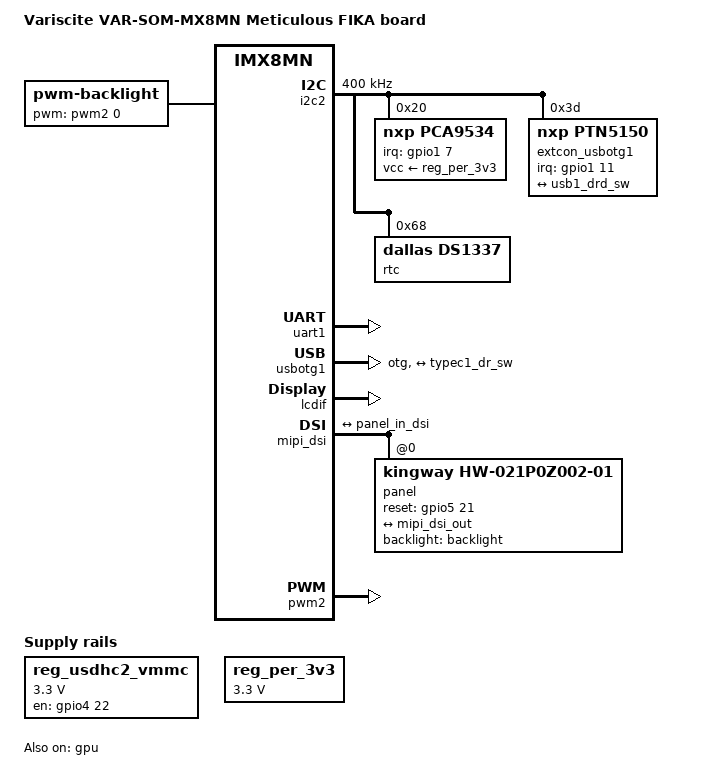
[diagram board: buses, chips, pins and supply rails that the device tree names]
// SPDX-License-Identifier: (GPL-2.0+ OR MIT)
/*
 * Supports Symphony evaluation board versions >= 1.4a.
 *
 * Copyright 2019-2020 Variscite Ltd.
 * Copyright (C) 2020 Krzysztof Kozlowski <krzk@kernel.org>
 */

/dts-v1/;

#include <dt-bindings/usb/pd.h>
#include "imx8mn-var-som.dtsi"

/ {
	model = "Variscite VAR-SOM-MX8MN Meticulous FIKA board";
	compatible = "meticulous,fika-var-mx8mn", "variscite,var-som-mx8mn-meticulous", "variscite,var-som-mx8mn", "fsl,imx8mn";

	reg_usdhc2_vmmc: regulator-usdhc2-vmmc {
		compatible = "regulator-fixed";
		pinctrl-names = "default";
		pinctrl-0 = <&pinctrl_reg_usdhc2_vmmc>;
		regulator-name = "VSD_3V3";
		regulator-min-microvolt = <3300000>;
		regulator-max-microvolt = <3300000>;
		gpio = <&gpio4 22 GPIO_ACTIVE_HIGH>;
		enable-active-high;
	};

	/* Peripherals supply, enabled by Q2 after SOM_3V3 rises. */
	reg_per_3v3: regulator-peripheral-3v3 {
		compatible = "regulator-fixed";
		regulator-name = "per_3v3";
		regulator-min-microvolt = <3300000>;
		regulator-max-microvolt = <3300000>;
		regulator-always-on;
	};

	backlight: backlight {
		compatible = "pwm-backlight";
		pwms = <&pwm2 0 500000 0>;
		brightness-levels = <0 100>;
		num-interpolated-steps = <100>;
		default-brightness-level = <99>;
		status = "okay";
	};
};

&ethphy {
	status = "disabled";
};

&i2c2 {
	clock-frequency = <400000>;
	pinctrl-names = "default";
	pinctrl-0 = <&pinctrl_i2c2>;
	status = "okay";

	pca9534: gpio@20 {
		compatible = "nxp,pca9534";
		reg = <0x20>;
		gpio-controller;
		pinctrl-names = "default";
		pinctrl-0 = <&pinctrl_pca9534>;
		interrupt-parent = <&gpio1>;
		interrupts = <7 IRQ_TYPE_EDGE_FALLING>;
		#gpio-cells = <2>;
		wakeup-source;
		vcc-supply = <&reg_per_3v3>;

		/* USB 3.0 OTG (usbotg1) / SATA port switch, set to USB 3.0 */
		usb3-sata-sel-hog {
			gpio-hog;
			gpios = <4 GPIO_ACTIVE_HIGH>;
			output-low;
			line-name = "usb3_sata_sel";
		};

		som-vselect-hog {
			gpio-hog;
			gpios = <6 GPIO_ACTIVE_HIGH>;
			output-low;
			line-name = "som_vselect";
		};
	};

	// We have the ID pin connected, not the IRQ pin as some older symphony boards
	extcon_usbotg1: typec@3d {
		compatible = "nxp,ptn5150";
		reg = <0x3d>;
		interrupt-parent = <&gpio1>;
		interrupts = <11 IRQ_TYPE_EDGE_FALLING>;
		pinctrl-names = "default";
		pinctrl-0 = <&pinctrl_ptn5150>;

		port {
			typec1_dr_sw: endpoint {
				remote-endpoint = <&usb1_drd_sw>;
			};
		};
	};

	rtc@68 {
		compatible = "dallas,ds1337";
		reg = <0x68>;
	};
};

&uart1 {
	pinctrl-names = "default";
	pinctrl-0 = <&pinctrl_uart1>;
	status = "okay";
};

&uart3 {
	status = "disabled";
};

&usbotg1 {
	dr_mode = "otg";
	hnp-disable;
	srp-disable;
	adp-disable;
	usb-role-switch;
	disable-over-current;
	samsung,picophy-pre-emp-curr-control = <3>;
	samsung,picophy-dc-vol-level-adjust = <7>;
	status = "okay";

	port {
		usb1_drd_sw: endpoint {
			remote-endpoint = <&typec1_dr_sw>;
		};
	};
};

&iomuxc {
	pinctrl_i2c2: i2c2grp {
		fsl,pins = <
			MX8MN_IOMUXC_I2C2_SCL_I2C2_SCL		0x400001c3
			MX8MN_IOMUXC_I2C2_SDA_I2C2_SDA		0x400001c3
		>;
	};

	pinctrl_pca9534: pca9534grp {
		fsl,pins = <
			MX8MN_IOMUXC_GPIO1_IO07_GPIO1_IO7	0x16
		>;
	};

	pinctrl_ptn5150: ptn5150grp {
		fsl,pins = <
			MX8MN_IOMUXC_GPIO1_IO11_GPIO1_IO11	0x16
		>;
	};

	pinctrl_reg_usdhc2_vmmc: regusdhc2vmmcgrp {
		fsl,pins = <
			MX8MN_IOMUXC_SAI2_RXC_GPIO4_IO22	0x41
		>;
	};

	pinctrl_uart1: uart1grp {
		fsl,pins = <
			MX8MN_IOMUXC_UART1_RXD_UART1_DCE_RX	0x140
			MX8MN_IOMUXC_UART1_TXD_UART1_DCE_TX	0x140
		>;
	};

	pinctrl_mipi_dsi_rst: mipi_dsi_rst {
		fsl,pins = <
			MX8MN_IOMUXC_I2C4_SDA_GPIO5_IO21		0x41
		>;
	};


	pinctrl_mipi_dsi_bl_pwm2: mipi_dsi_bl_pwm2 {
		fsl,pins = <
			MX8MN_IOMUXC_I2C4_SCL_PWM2_OUT		0x6
		>;
	};

	pinctrl_gpio5_io26: gpio526grp {
		fsl,pins = <
			MX8MN_IOMUXC_UART3_RXD_GPIO5_IO26		0x61
		>;
	};
};

&fec1 {
	status = "disabled";
};

&lcdif {
	assigned-clocks = <&clk IMX8MN_VIDEO_PLL1>;
	assigned-clock-rates = <594000000>;
	status = "okay";
};

&gpu {
	status = "okay";
};

&pgc_dispmix {
	assigned-clocks = <&clk IMX8MN_CLK_DISP_AXI>, <&clk IMX8MN_CLK_DISP_APB>;
	assigned-clock-parents = <&clk IMX8MN_SYS_PLL2_1000M>, <&clk IMX8MN_SYS_PLL1_800M>;
	assigned-clock-rates = <500000000>, <200000000>;
};

&mipi_dsi {
	#address-cells = <1>;
	#size-cells = <0>;
	samsung,esc-clock-frequency = <20000000>;

	status = "okay";
	
	panel@0 {
		#address-cells = <1>;
		#size-cells = <0>;
		compatible = "kingway,hw-021p0z002-01", "sitronix,st7701";
		reg = <0>;
		reset-gpios = <&gpio5 21 GPIO_ACTIVE_HIGH>;
		pinctrl-names = "default";
		pinctrl-0 = <&pinctrl_mipi_dsi_rst>;
		backlight = <&backlight>;

		port@0 {
			reg = <0>;
			panel_in_dsi: endpoint {
				remote-endpoint = <&mipi_dsi_out>;
			};
		};
	};

	ports {
		port@1 {
			reg = <1>;

			mipi_dsi_out: endpoint {
				remote-endpoint = <&panel_in_dsi>;
				clock-lanes = <0>;
				data-lanes = <1 2>;
			};
		};
	};
};

// PWM for backlight
&pwm2 {
	status = "okay";
	pinctrl-names = "default";
	pinctrl-0 = <&pinctrl_mipi_dsi_bl_pwm2>;
};

&ecspi1  {
	touchscreen@0 {
		status = "disabled";
	};
};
